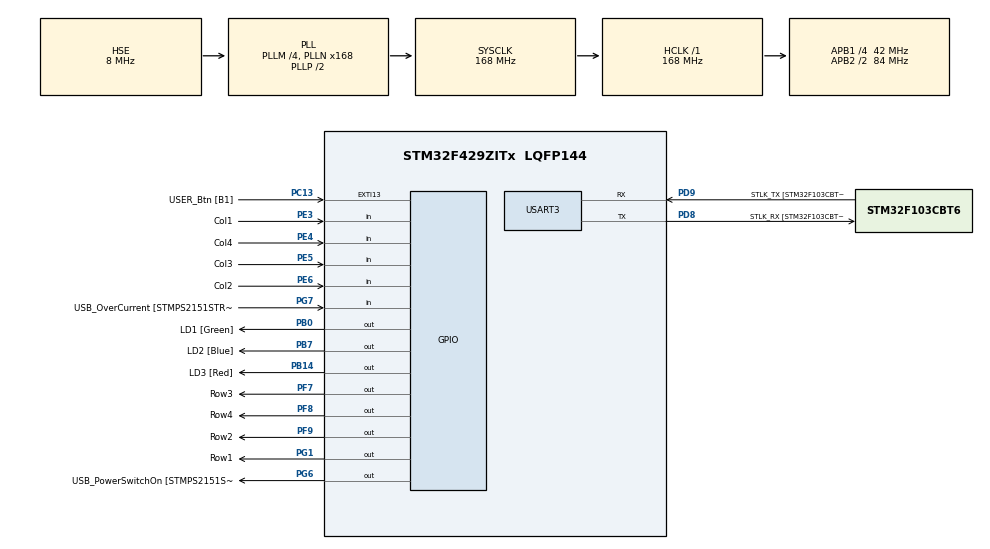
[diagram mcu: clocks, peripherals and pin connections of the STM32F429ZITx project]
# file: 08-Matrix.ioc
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Mcu.Family=STM32F4
Mcu.Name=STM32F429ZITx
Mcu.Package=LQFP144
NVIC.PriorityGroup=NVIC_PRIORITYGROUP_4
NVIC.TIM3_IRQn=true\:0\:0\:false\:false\:true\:true\:true\:true
PA1.GPIO_Label=RMII_REF_CLK [LAN8742A-CZ-TR_REFCLK0]
PA1.Signal=ETH_REF_CLK
PA10.GPIO_Label=USB_ID
PA10.Signal=USB_OTG_FS_ID
PA11.GPIO_Label=USB_DM
PA11.Signal=USB_OTG_FS_DM
PA12.GPIO_Label=USB_DP
PA12.Signal=USB_OTG_FS_DP
PA13.GPIO_Label=TMS
PA13.Mode=Serial_Wire
PA13.Signal=SYS_JTMS-SWDIO
PA14.GPIO_Label=TCK
PA14.Mode=Serial_Wire
PA14.Signal=SYS_JTCK-SWCLK
PA2.GPIO_Label=RMII_MDIO [LAN8742A-CZ-TR_MDIO]
PA2.Signal=ETH_MDIO
PA7.GPIO_Label=RMII_CRS_DV [LAN8742A-CZ-TR_CRS_DV]
PA7.Signal=ETH_CRS_DV
PA8.GPIO_Label=USB_SOF [TP1]
PA8.Signal=USB_OTG_FS_SOF
PA9.GPIO_Label=USB_VBUS
PA9.Signal=USB_OTG_FS_VBUS
PB0.GPIO_Label=LD1 [Green]
PB0.Signal=GPIO_Output
PB13.GPIO_Label=RMII_TXD1 [LAN8742A-CZ-TR_TXD1]
PB13.Signal=ETH_TXD1
PB14.GPIO_Label=LD3 [Red]
PB14.Signal=GPIO_Output
PB7.GPIO_Label=LD2 [Blue]
PB7.Signal=GPIO_Output
PC1.GPIO_Label=RMII_MDC [LAN8742A-CZ-TR_MDC]
PC1.Signal=ETH_MDC
PC13.GPIO_Label=USER_Btn [B1]
PC13.Signal=GPXTI13
PC14/OSC32_IN.Mode=LSE-External-Oscillator
PC14/OSC32_IN.Signal=RCC_OSC32_IN
PC15/OSC32_OUT.Mode=LSE-External-Oscillator
PC15/OSC32_OUT.Signal=RCC_OSC32_OUT
PC4.GPIO_Label=RMII_RXD0 [LAN8742A-CZ-TR_RXD0]
PC4.Signal=ETH_RXD0
PC5.GPIO_Label=RMII_RXD1 [LAN8742A-CZ-TR_RXD1]
PC5.Signal=ETH_RXD1
PD8.GPIO_Label=STLK_RX [STM32F103CBT6_PA3]
PD8.Mode=Asynchronous
PD8.Signal=USART3_TX
PD9.GPIO_Label=STLK_TX [STM32F103CBT6_PA2]
PD9.Mode=Asynchronous
PD9.Signal=USART3_RX
PE3.GPIO_Label=Col1
PE3.GPIO_PuPd=GPIO_PULLUP
PE3.Signal=GPIO_Input
PE4.GPIO_Label=Col4
PE4.GPIO_PuPd=GPIO_PULLUP
PE4.Signal=GPIO_Input
PE5.GPIO_Label=Col3
PE5.GPIO_PuPd=GPIO_PULLUP
PE5.Signal=GPIO_Input
PE6.GPIO_Label=Col2
PE6.GPIO_PuPd=GPIO_PULLUP
PE6.Signal=GPIO_Input
PF7.GPIO_Label=Row3
PF7.GPIO_ModeDefaultOutputPP=GPIO_MODE_OUTPUT_OD
PF7.GPIO_PuPd=GPIO_PULLUP
PF7.Signal=GPIO_Output
PF8.GPIO_Label=Row4
PF8.GPIO_ModeDefaultOutputPP=GPIO_MODE_OUTPUT_OD
PF8.GPIO_PuPd=GPIO_PULLUP
PF8.Signal=GPIO_Output
PF9.GPIO_Label=Row2
PF9.GPIO_ModeDefaultOutputPP=GPIO_MODE_OUTPUT_OD
PF9.GPIO_PuPd=GPIO_PULLUP
PF9.Signal=GPIO_Output
PG1.GPIO_Label=Row1
PG1.GPIO_ModeDefaultOutputPP=GPIO_MODE_OUTPUT_OD
PG1.GPIO_PuPd=GPIO_PULLUP
PG1.Signal=GPIO_Output
PG11.GPIO_Label=RMII_TX_EN [LAN8742A-CZ-TR_TXEN]
PG11.Signal=ETH_TX_EN
PG13.GPIO_Label=RMII_TXD0 [LAN8742A-CZ-TR_TXD0]
PG13.Signal=ETH_TXD0
PG6.GPIO_Label=USB_PowerSwitchOn [STMPS2151STR_EN]
PG6.Signal=GPIO_Output
PG7.GPIO_Label=USB_OverCurrent [STMPS2151STR_FAULT]
PG7.Signal=GPIO_Input
PH0/OSC_IN.GPIO_Label=MCO [STM32F103CBT6_PA8]
PH0/OSC_IN.Mode=HSE-External-Clock-Source
PH0/OSC_IN.Signal=RCC_OSC_IN
PH1/OSC_OUT.Mode=HSE-External-Clock-Source
PH1/OSC_OUT.Signal=RCC_OSC_OUT
ProjectManager.HeapSize=0x200
ProjectManager.StackSize=0x400
ProjectManager.TargetToolchain=STM32CubeIDE
RCC.48MHZClocksFreq_Value=48000000
RCC.AHBFreq_Value=168000000
RCC.APB1CLKDivider=RCC_HCLK_DIV4
RCC.APB1Freq_Value=42000000
RCC.APB1TimFreq_Value=84000000
RCC.APB2CLKDivider=RCC_HCLK_DIV2
RCC.APB2Freq_Value=84000000
RCC.APB2TimCLKDivider=2
RCC.APB2TimFreq_Value=168000000
RCC.CortexFreq_Value=168000000
RCC.HCLKFreq_Value=168000000
RCC.HSE_VALUE=8000000
RCC.HSI_VALUE=16000000
RCC.PLLM=4
RCC.PLLMUL=RCC_PLL_MUL9
RCC.PLLN=168
RCC.PLLQ=7
RCC.PLLSourceVirtual=RCC_PLLSOURCE_HSE
RCC.PRESCALERUSB=RCC_USBCLKSOURCE_PLL_DIV1_5
RCC.SYSCLKFreq_VALUE=168000000
RCC.SYSCLKSource=RCC_SYSCLKSOURCE_PLLCLK
RCC.SYSCLKSourceVirtual=RCC_SYSCLKSOURCE_PLLCLK
RCC.USBFreq_Value=48000000
RCC.VCOOutputFreq_Value=336000000
TIM3.AutoReloadPreload=TIM_AUTORELOAD_PRELOAD_ENABLE
TIM3.Period=99
TIM3.Prescaler=8399
USART3.VirtualMode=VM_ASYNC
VP_TIM3_VS_ClockSourceINT.Mode=Internal
board=NUCLEO-F429ZI

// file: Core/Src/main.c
/* USER CODE BEGIN Header */
/**
 ****************************************************************************
 * @file           : main.c
 * @brief          : Main program body
 ****************************************************************************
 * @attention
 *
 * Copyright (c) 2024 STMicroelectronics.
 * All rights reserved.
 *
 * This software is licensed under terms that can be found in the LICENSE file
 * in the root directory of this software component.
 * If no LICENSE file comes with this software, it is provided AS-IS.
 *
 ****************************************************************************
 */
/* USER CODE END Header */
#include "main.h"

/* USER CODE BEGIN Includes */
#include <stdio.h>
#include <string.h>
/* USER CODE END Includes */

/* USER CODE BEGIN PM */
#define BUTTON_DELAY 1000
#define PASSWORD_TIMEOUT 10000
#define LOCK_DOWN 3000
/* USER CODE END PM */

TIM_HandleTypeDef htim3;

UART_HandleTypeDef huart3;

/* USER CODE BEGIN PV */
static volatile char key;

static const char password[128] = "7932#";
static uint16_t step = 0;
static uint16_t last_step = strlen(password);
/* USER CODE END PV */

void SystemClock_Config(void);
static void MX_GPIO_Init(void);
static void MX_USART3_UART_Init(void);
static void MX_TIM3_Init(void);

/* USER CODE BEGIN 0 */

int __io_putchar(int ch)
{
	ITM_SendChar(ch);
	return 0;
}

/* USER CODE END 0 */

int main(void)
{

	/* MCU Configuration--------------------------------------------------------*/

	/* Reset of all peripherals, Initializes the Flash interface and the Systick. */
	HAL_Init();

	/* Configure the system clock */
	SystemClock_Config();

	/* Initialize all configured peripherals */
	MX_GPIO_Init();
	MX_USART3_UART_Init();
	MX_TIM3_Init();
	/* USER CODE BEGIN 2 */
	HAL_TIM_Base_Start_IT(&htim3);
	/* USER CODE END 2 */

	/* Infinite loop */
	/* USER CODE BEGIN WHILE */
	uint32_t tick = HAL_GetTick();
	while (1)
	{

		if ( (HAL_GetTick() > tick + PASSWORD_TIMEOUT) && (step != 0)) {
			step = 0;
			printf("Password timeout!\n");
		}

		if (key != 0) {
			printf("Pressed '%s'\n", &key);

			if(password[step] == key) {
				step++;
				//printf("Correct char! %s\n", &key);

				if (last_step == step) {
					step = 0;
					HAL_GPIO_WritePin(LD1_GPIO_Port, LD1_Pin, 1);
					printf("Correct Password\n");
					HAL_Delay(LOCK_DOWN);
					HAL_GPIO_WritePin(LD1_GPIO_Port, LD1_Pin, 0);
				}
			}
			else {
				step = 0;
				printf("Password incorrect! %s\n", &key);
			}

			HAL_Delay(BUTTON_DELAY);
			tick = HAL_GetTick();
			key = 0;
		}
		/* USER CODE END WHILE */

	}
}

void SystemClock_Config(void)
{
	RCC_OscInitTypeDef RCC_OscInitStruct = {0};
	RCC_ClkInitTypeDef RCC_ClkInitStruct = {0};

	/** Configure the main internal regulator output voltage
	 */
	__HAL_RCC_PWR_CLK_ENABLE();
	__HAL_PWR_VOLTAGESCALING_CONFIG(PWR_REGULATOR_VOLTAGE_SCALE1);

	/** Initializes the RCC Oscillators according to the specified parameters
	 * in the RCC_OscInitTypeDef structure.
	 */
	RCC_OscInitStruct.OscillatorType = RCC_OSCILLATORTYPE_HSE;
	RCC_OscInitStruct.HSEState = RCC_HSE_BYPASS;
	RCC_OscInitStruct.PLL.PLLState = RCC_PLL_ON;
	RCC_OscInitStruct.PLL.PLLSource = RCC_PLLSOURCE_HSE;
	RCC_OscInitStruct.PLL.PLLM = 4;
	RCC_OscInitStruct.PLL.PLLN = 168;
	RCC_OscInitStruct.PLL.PLLP = RCC_PLLP_DIV2;
	RCC_OscInitStruct.PLL.PLLQ = 7;
	if (HAL_RCC_OscConfig(&RCC_OscInitStruct) != HAL_OK)
	{
		Error_Handler();
	}

	/** Initializes the CPU, AHB and APB buses clocks
	 */
	RCC_ClkInitStruct.ClockType = RCC_CLOCKTYPE_HCLK|RCC_CLOCKTYPE_SYSCLK
			|RCC_CLOCKTYPE_PCLK1|RCC_CLOCKTYPE_PCLK2;
	RCC_ClkInitStruct.SYSCLKSource = RCC_SYSCLKSOURCE_PLLCLK;
	RCC_ClkInitStruct.AHBCLKDivider = RCC_SYSCLK_DIV1;
	RCC_ClkInitStruct.APB1CLKDivider = RCC_HCLK_DIV4;
	RCC_ClkInitStruct.APB2CLKDivider = RCC_HCLK_DIV2;

	if (HAL_RCC_ClockConfig(&RCC_ClkInitStruct, FLASH_LATENCY_5) != HAL_OK)
	{
		Error_Handler();
	}
}

static void MX_TIM3_Init(void)
{

	TIM_ClockConfigTypeDef sClockSourceConfig = {0};
	TIM_MasterConfigTypeDef sMasterConfig = {0};

	htim3.Instance = TIM3;
	htim3.Init.Prescaler = 8399;
	htim3.Init.CounterMode = TIM_COUNTERMODE_UP;
	htim3.Init.Period = 99;
	htim3.Init.ClockDivision = TIM_CLOCKDIVISION_DIV1;
	htim3.Init.AutoReloadPreload = TIM_AUTORELOAD_PRELOAD_ENABLE;
	if (HAL_TIM_Base_Init(&htim3) != HAL_OK)
	{
		Error_Handler();
	}
	sClockSourceConfig.ClockSource = TIM_CLOCKSOURCE_INTERNAL;
	if (HAL_TIM_ConfigClockSource(&htim3, &sClockSourceConfig) != HAL_OK)
	{
		Error_Handler();
	}
	sMasterConfig.MasterOutputTrigger = TIM_TRGO_RESET;
	sMasterConfig.MasterSlaveMode = TIM_MASTERSLAVEMODE_DISABLE;
	if (HAL_TIMEx_MasterConfigSynchronization(&htim3, &sMasterConfig) != HAL_OK)
	{
		Error_Handler();
	}

}

static void MX_USART3_UART_Init(void)
{

	huart3.Instance = USART3;
	huart3.Init.BaudRate = 115200;
	huart3.Init.WordLength = UART_WORDLENGTH_8B;
	huart3.Init.StopBits = UART_STOPBITS_1;
	huart3.Init.Parity = UART_PARITY_NONE;
	huart3.Init.Mode = UART_MODE_TX_RX;
	huart3.Init.HwFlowCtl = UART_HWCONTROL_NONE;
	huart3.Init.OverSampling = UART_OVERSAMPLING_16;
	if (HAL_UART_Init(&huart3) != HAL_OK)
	{
		Error_Handler();
	}

}

static void MX_GPIO_Init(void)
{
	GPIO_InitTypeDef GPIO_InitStruct = {0};

	/* GPIO Ports Clock Enable */
	__HAL_RCC_GPIOE_CLK_ENABLE();
	__HAL_RCC_GPIOC_CLK_ENABLE();
	__HAL_RCC_GPIOF_CLK_ENABLE();
	__HAL_RCC_GPIOH_CLK_ENABLE();
	__HAL_RCC_GPIOA_CLK_ENABLE();
	__HAL_RCC_GPIOB_CLK_ENABLE();
	__HAL_RCC_GPIOG_CLK_ENABLE();
	__HAL_RCC_GPIOD_CLK_ENABLE();

	/*Configure GPIO pin Output Level */
	HAL_GPIO_WritePin(GPIOF, Row3_Pin|Row4_Pin|Row2_Pin, GPIO_PIN_RESET);

	/*Configure GPIO pin Output Level */
	HAL_GPIO_WritePin(GPIOB, LD1_Pin|LD3_Pin|LD2_Pin, GPIO_PIN_RESET);

	/*Configure GPIO pin Output Level */
	HAL_GPIO_WritePin(GPIOG, Row1_Pin|USB_PowerSwitchOn_Pin, GPIO_PIN_RESET);

	/*Configure GPIO pins : Col1_Pin Col4_Pin Col3_Pin Col2_Pin */
	GPIO_InitStruct.Pin = Col1_Pin|Col4_Pin|Col3_Pin|Col2_Pin;
	GPIO_InitStruct.Mode = GPIO_MODE_INPUT;
	GPIO_InitStruct.Pull = GPIO_PULLUP;
	HAL_GPIO_Init(GPIOE, &GPIO_InitStruct);

	/*Configure GPIO pin : USER_Btn_Pin */
	GPIO_InitStruct.Pin = USER_Btn_Pin;
	GPIO_InitStruct.Mode = GPIO_MODE_IT_RISING;
	GPIO_InitStruct.Pull = GPIO_NOPULL;
	HAL_GPIO_Init(USER_Btn_GPIO_Port, &GPIO_InitStruct);

	/*Configure GPIO pins : Row3_Pin Row4_Pin Row2_Pin */
	GPIO_InitStruct.Pin = Row3_Pin|Row4_Pin|Row2_Pin;
	GPIO_InitStruct.Mode = GPIO_MODE_OUTPUT_OD;
	GPIO_InitStruct.Pull = GPIO_PULLUP;
	GPIO_InitStruct.Speed = GPIO_SPEED_FREQ_LOW;
	HAL_GPIO_Init(GPIOF, &GPIO_InitStruct);

	/*Configure GPIO pins : RMII_MDC_Pin RMII_RXD0_Pin RMII_RXD1_Pin */
	GPIO_InitStruct.Pin = RMII_MDC_Pin|RMII_RXD0_Pin|RMII_RXD1_Pin;
	GPIO_InitStruct.Mode = GPIO_MODE_AF_PP;
	GPIO_InitStruct.Pull = GPIO_NOPULL;
	GPIO_InitStruct.Speed = GPIO_SPEED_FREQ_VERY_HIGH;
	GPIO_InitStruct.Alternate = GPIO_AF11_ETH;
	HAL_GPIO_Init(GPIOC, &GPIO_InitStruct);

	/*Configure GPIO pins : RMII_REF_CLK_Pin RMII_MDIO_Pin RMII_CRS_DV_Pin */
	GPIO_InitStruct.Pin = RMII_REF_CLK_Pin|RMII_MDIO_Pin|RMII_CRS_DV_Pin;
	GPIO_InitStruct.Mode = GPIO_MODE_AF_PP;
	GPIO_InitStruct.Pull = GPIO_NOPULL;
	GPIO_InitStruct.Speed = GPIO_SPEED_FREQ_VERY_HIGH;
	GPIO_InitStruct.Alternate = GPIO_AF11_ETH;
	HAL_GPIO_Init(GPIOA, &GPIO_InitStruct);

	/*Configure GPIO pins : LD1_Pin LD3_Pin LD2_Pin */
	GPIO_InitStruct.Pin = LD1_Pin|LD3_Pin|LD2_Pin;
	GPIO_InitStruct.Mode = GPIO_MODE_OUTPUT_PP;
	GPIO_InitStruct.Pull = GPIO_NOPULL;
	GPIO_InitStruct.Speed = GPIO_SPEED_FREQ_LOW;
	HAL_GPIO_Init(GPIOB, &GPIO_InitStruct);

	/*Configure GPIO pin : Row1_Pin */
	GPIO_InitStruct.Pin = Row1_Pin;
	GPIO_InitStruct.Mode = GPIO_MODE_OUTPUT_OD;
	GPIO_InitStruct.Pull = GPIO_PULLUP;
	GPIO_InitStruct.Speed = GPIO_SPEED_FREQ_LOW;
	HAL_GPIO_Init(Row1_GPIO_Port, &GPIO_InitStruct);

	/*Configure GPIO pin : RMII_TXD1_Pin */
	GPIO_InitStruct.Pin = RMII_TXD1_Pin;
	GPIO_InitStruct.Mode = GPIO_MODE_AF_PP;
	GPIO_InitStruct.Pull = GPIO_NOPULL;
	GPIO_InitStruct.Speed = GPIO_SPEED_FREQ_VERY_HIGH;
	GPIO_InitStruct.Alternate = GPIO_AF11_ETH;
	HAL_GPIO_Init(RMII_TXD1_GPIO_Port, &GPIO_InitStruct);

	/*Configure GPIO pin : USB_PowerSwitchOn_Pin */
	GPIO_InitStruct.Pin = USB_PowerSwitchOn_Pin;
	GPIO_InitStruct.Mode = GPIO_MODE_OUTPUT_PP;
	GPIO_InitStruct.Pull = GPIO_NOPULL;
	GPIO_InitStruct.Speed = GPIO_SPEED_FREQ_LOW;
	HAL_GPIO_Init(USB_PowerSwitchOn_GPIO_Port, &GPIO_InitStruct);

	/*Configure GPIO pin : USB_OverCurrent_Pin */
	GPIO_InitStruct.Pin = USB_OverCurrent_Pin;
	GPIO_InitStruct.Mode = GPIO_MODE_INPUT;
	GPIO_InitStruct.Pull = GPIO_NOPULL;
	HAL_GPIO_Init(USB_OverCurrent_GPIO_Port, &GPIO_InitStruct);

	/*Configure GPIO pins : USB_SOF_Pin USB_ID_Pin USB_DM_Pin USB_DP_Pin */
	GPIO_InitStruct.Pin = USB_SOF_Pin|USB_ID_Pin|USB_DM_Pin|USB_DP_Pin;
	GPIO_InitStruct.Mode = GPIO_MODE_AF_PP;
	GPIO_InitStruct.Pull = GPIO_NOPULL;
	GPIO_InitStruct.Speed = GPIO_SPEED_FREQ_VERY_HIGH;
	GPIO_InitStruct.Alternate = GPIO_AF10_OTG_FS;
	HAL_GPIO_Init(GPIOA, &GPIO_InitStruct);

	/*Configure GPIO pin : USB_VBUS_Pin */
	GPIO_InitStruct.Pin = USB_VBUS_Pin;
	GPIO_InitStruct.Mode = GPIO_MODE_INPUT;
	GPIO_InitStruct.Pull = GPIO_NOPULL;
	HAL_GPIO_Init(USB_VBUS_GPIO_Port, &GPIO_InitStruct);

	/*Configure GPIO pins : RMII_TX_EN_Pin RMII_TXD0_Pin */
	GPIO_InitStruct.Pin = RMII_TX_EN_Pin|RMII_TXD0_Pin;
	GPIO_InitStruct.Mode = GPIO_MODE_AF_PP;
	GPIO_InitStruct.Pull = GPIO_NOPULL;
	GPIO_InitStruct.Speed = GPIO_SPEED_FREQ_VERY_HIGH;
	GPIO_InitStruct.Alternate = GPIO_AF11_ETH;
	HAL_GPIO_Init(GPIOG, &GPIO_InitStruct);

}

/* USER CODE BEGIN 4 */

void HAL_TIM_PeriodElapsedCallback(TIM_HandleTypeDef *htim)
{
	static uint8_t row = 0;
	static const char keyboard[4][4] = {
			{ '1', '2', '3', 'A' },
			{ '4', '5', '6', 'B' },
			{ '7', '8', '9', 'C' },
			{ '*', '0', '#', 'D' },
	};
	if (key == 0) {
		if (HAL_GPIO_ReadPin(Col1_GPIO_Port, Col1_Pin) == GPIO_PIN_RESET) {
			key = keyboard[row][0];
		}
		if (HAL_GPIO_ReadPin(Col2_GPIO_Port, Col2_Pin) == GPIO_PIN_RESET) {
			key = keyboard[row][1];
		}
		if (HAL_GPIO_ReadPin(Col3_GPIO_Port, Col3_Pin) == GPIO_PIN_RESET) {
			key = keyboard[row][2];
		}
		if (HAL_GPIO_ReadPin(Col4_GPIO_Port, Col4_Pin) == GPIO_PIN_RESET) {
			key = keyboard[row][3];
		}
	}
	HAL_GPIO_WritePin(Row1_GPIO_Port, Row1_Pin, GPIO_PIN_SET);
	HAL_GPIO_WritePin(Row2_GPIO_Port, Row2_Pin, GPIO_PIN_SET);
	HAL_GPIO_WritePin(Row3_GPIO_Port, Row3_Pin, GPIO_PIN_SET);
	HAL_GPIO_WritePin(Row4_GPIO_Port, Row4_Pin, GPIO_PIN_SET);
	switch (row) {
	case 0:
		row = 1;
		HAL_GPIO_WritePin(Row2_GPIO_Port, Row2_Pin, GPIO_PIN_RESET);
		break;
	case 1:
		row = 2;
		HAL_GPIO_WritePin(Row3_GPIO_Port, Row3_Pin, GPIO_PIN_RESET);
		break;
	case 2:
		row = 3;
		HAL_GPIO_WritePin(Row4_GPIO_Port, Row4_Pin, GPIO_PIN_RESET);
		break;
	case 3:
		row = 0;
		HAL_GPIO_WritePin(Row1_GPIO_Port, Row1_Pin, GPIO_PIN_RESET);
		break;

	}
}

/* USER CODE END 4 */

void Error_Handler(void)
{
	__disable_irq();
	while (1)
	{
	}
}
